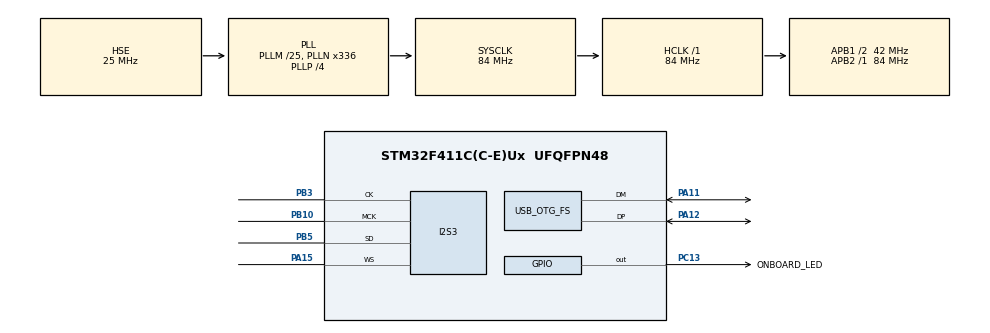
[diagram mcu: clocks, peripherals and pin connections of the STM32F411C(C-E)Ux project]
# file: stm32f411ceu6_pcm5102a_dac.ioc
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Dma.Request0=SPI3_TX
Dma.SPI3_TX.0.Direction=DMA_MEMORY_TO_PERIPH
Dma.SPI3_TX.0.FIFOMode=DMA_FIFOMODE_ENABLE
Dma.SPI3_TX.0.FIFOThreshold=DMA_FIFO_THRESHOLD_HALFFULL
Dma.SPI3_TX.0.Instance=DMA1_Stream5
Dma.SPI3_TX.0.MemBurst=DMA_MBURST_SINGLE
Dma.SPI3_TX.0.MemDataAlignment=DMA_MDATAALIGN_HALFWORD
Dma.SPI3_TX.0.MemInc=DMA_MINC_ENABLE
Dma.SPI3_TX.0.Mode=DMA_CIRCULAR
Dma.SPI3_TX.0.PeriphBurst=DMA_PBURST_SINGLE
Dma.SPI3_TX.0.PeriphDataAlignment=DMA_PDATAALIGN_HALFWORD
Dma.SPI3_TX.0.PeriphInc=DMA_PINC_DISABLE
Dma.SPI3_TX.0.Priority=DMA_PRIORITY_HIGH
I2S3.AudioFreq=I2S_AUDIOFREQ_44K
I2S3.DataFormat=I2S_DATAFORMAT_32B
I2S3.ErrorAudioFreq=0.24 %
I2S3.FullDuplexMode=I2S_FULLDUPLEXMODE_DISABLE
I2S3.Instance=SPI$Index
I2S3.RealAudioFreq=44.108 KHz
I2S3.VirtualMode=I2S_MODE_MASTER
Mcu.Family=STM32F4
Mcu.Name=STM32F411C(C-E)Ux
Mcu.Package=UFQFPN48
NVIC.DMA1_Stream5_IRQn=true\:0\:0\:false\:false\:true\:false\:true\:true
NVIC.PriorityGroup=NVIC_PRIORITYGROUP_4
PA11.Mode=Device_Only
PA11.Signal=USB_OTG_FS_DM
PA12.Mode=Device_Only
PA12.Signal=USB_OTG_FS_DP
PA13.Mode=Serial_Wire
PA13.Signal=SYS_JTMS-SWDIO
PA14.Mode=Serial_Wire
PA14.Signal=SYS_JTCK-SWCLK
PA15.Mode=Half_Duplex_Master
PA15.Signal=I2S3_WS
PB10.Mode=Master_Clock_Activated
PB10.Signal=I2S3_MCK
PB3.Mode=Half_Duplex_Master
PB3.Signal=I2S3_CK
PB5.Mode=Half_Duplex_Master
PB5.Signal=I2S3_SD
PC13-ANTI_TAMP.GPIO_Label=ONBOARD_LED
PC13-ANTI_TAMP.Signal=GPIO_Output
PH0\ -\ OSC_IN.Mode=HSE-External-Oscillator
PH0\ -\ OSC_IN.Signal=RCC_OSC_IN
PH1\ -\ OSC_OUT.Mode=HSE-External-Oscillator
PH1\ -\ OSC_OUT.Signal=RCC_OSC_OUT
ProjectManager.HeapSize=0x200
ProjectManager.StackSize=0x400
ProjectManager.TargetToolchain=STM32CubeIDE
RCC.48MHZClocksFreq_Value=48000000
RCC.AHBFreq_Value=84000000
RCC.APB1CLKDivider=RCC_HCLK_DIV2
RCC.APB1Freq_Value=42000000
RCC.APB1TimFreq_Value=84000000
RCC.APB2Freq_Value=84000000
RCC.APB2TimFreq_Value=84000000
RCC.CortexFreq_Value=84000000
RCC.HCLKFreq_Value=84000000
RCC.HSE_VALUE=25000000
RCC.HSI_VALUE=16000000
RCC.LSE_VALUE=32768
RCC.PLLI2SM=25
RCC.PLLI2SN=271
RCC.PLLI2SR=6
RCC.PLLM=25
RCC.PLLN=336
RCC.PLLP=RCC_PLLP_DIV4
RCC.PLLQ=7
RCC.SYSCLKFreq_VALUE=84000000
RCC.SYSCLKSource=RCC_SYSCLKSOURCE_PLLCLK
RCC.VCOOutputFreq_Value=336000000
USB_OTG_FS.VirtualMode=Device_Only
board=custom

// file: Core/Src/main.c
/* USER CODE BEGIN Header */
/**
 ******************************************************************************
 * @file           : main.c
 * @brief          : Main program body
 ******************************************************************************
 * @attention
 *
 * Copyright (c) 2025 STMicroelectronics.
 * All rights reserved.
 *
 * This software is licensed under terms that can be found in the LICENSE file
 * in the root directory of this software component.
 * If no LICENSE file comes with this software, it is provided AS-IS.
 *
 ******************************************************************************
 */
/* USER CODE END Header */
#include "main.h"

/* USER CODE BEGIN Includes */
#include "usb_speaker.h"
#include "volume_ctrl.h"
#include "speaker_settings.h"
#include "ring_buf.h"
/* USER CODE END Includes */

I2S_HandleTypeDef hi2s3;
DMA_HandleTypeDef hdma_spi3_tx;

PCD_HandleTypeDef hpcd_USB_OTG_FS;

/* USER CODE BEGIN PV */
speaker_settings_t speaker_settings;

// Buffer for speaker data
ring_buf_t spk_ring_buffer;
uint32_t *spk_ring_buffer_storage;

// Buffer for speaker data
uint8_t spk_usb_read_buf[SAMPLE_BUFFER_SIZE * 2 * 4 * 2]; // Max size of audio sample is  2 * 4. 2 Channels, 4 byte width sample
i2s_32b_audio_sample spk_32b_i2s_buffer[SAMPLE_BUFFER_SIZE];
i2s_16b_audio_sample spk_16b_i2s_buffer[SAMPLE_BUFFER_SIZE];
uint32_t spk_i2s_buf[SAMPLE_BUFFER_SIZE * 2];

void led_blinking_task(void);

int32_t usb_to_i2s_32b_sample_convert(int32_t sample, uint32_t volume_db);

int16_t usb_to_i2s_16b_sample_convert(int16_t sample, uint32_t volume_db);

HAL_StatusTypeDef refresh_i2s_spk(void);
void refresh_i2s_connections(void);
HAL_StatusTypeDef MyHAL_I2S_Init(I2S_HandleTypeDef *hi2s);
void MyHAL_I2S_MspInit(I2S_HandleTypeDef *hi2s);

void usb_speaker_mute_handler(int8_t bChannelNumber, int8_t mute_in);
void usb_speaker_volume_handler(int8_t bChannelNumber, int16_t volume_in);
void usb_speaker_current_sample_rate_handler(uint32_t current_sample_rate_in);
void usb_speaker_current_resolution_handler(uint8_t current_resolution_in);
void usb_speaker_current_status_set_handler(uint32_t blink_interval_ms_in);

void usb_speaker_tud_audio_rx_done_pre_read_handler(uint8_t rhport,
		uint16_t n_bytes_received, uint8_t func_id, uint8_t ep_out,
		uint8_t cur_alt_setting);

int spk_machine_i2s_write_stream(uint32_t *buf_in, uint32_t size);
void HAL_I2S_TxHalfCpltCallback(I2S_HandleTypeDef *hi2s);
void HAL_I2S_TxCpltCallback(I2S_HandleTypeDef *hi2s);
uint32_t feed_spk_dma(uint32_t *dma_buffer_p,
		uint32_t sizeof_half_dma_buffer_in_bytes);
/* USER CODE END PV */

void SystemClock_Config(void);
static void MX_GPIO_Init(void);
static void MX_DMA_Init(void);
static void MX_I2S3_Init(void);
static void MX_USB_OTG_FS_PCD_Init(void);

int main(void) {

	/* MCU Configuration--------------------------------------------------------*/

	/* Reset of all peripherals, Initializes the Flash interface and the Systick. */
	HAL_Init();

	/* Configure the system clock */
	SystemClock_Config();

	/* Initialize all configured peripherals */
	MX_GPIO_Init();
	MX_DMA_Init();
	MX_I2S3_Init();
	MX_USB_OTG_FS_PCD_Init();
	/* USER CODE BEGIN 2 */

	speaker_settings.sample_rate = I2S_SPK_RATE_DEF;
	speaker_settings.resolution = CFG_TUD_AUDIO_FUNC_1_FORMAT_1_RESOLUTION_RX;
	speaker_settings.blink_interval_ms = BLINK_NOT_MOUNTED;
	speaker_settings.status_updated = false;

	usb_speaker_set_mute_set_handler(usb_speaker_mute_handler);
	usb_speaker_set_volume_set_handler(usb_speaker_volume_handler);
	usb_speaker_set_current_sample_rate_set_handler(
			usb_speaker_current_sample_rate_handler);
	usb_speaker_set_current_resolution_set_handler(
			usb_speaker_current_resolution_handler);
	usb_speaker_set_current_status_set_handler(
			usb_speaker_current_status_set_handler);

	usb_speaker_set_tud_audio_rx_done_pre_read_set_handler(
			usb_speaker_tud_audio_rx_done_pre_read_handler);

	usb_speaker_init();
	refresh_i2s_connections();

	for (int i = 0; i < (CFG_TUD_AUDIO_FUNC_1_N_CHANNELS_RX + 1); i++) {
		speaker_settings.volume[i] = DEFAULT_VOLUME;
		speaker_settings.mute[i] = 0;
		speaker_settings.volume_db[i] = vol_to_db_convert_enc(
				speaker_settings.mute[i], speaker_settings.volume[i]);
	}

	for (int i = 0; i < (CFG_TUD_AUDIO_FUNC_1_N_CHANNELS_RX); i++) {
		speaker_settings.volume_mul_db[i] = speaker_settings.volume_db[0]
				* speaker_settings.volume_db[i + 1];
	}

	/* USER CODE END 2 */

	/* Infinite loop */
	/* USER CODE BEGIN WHILE */
	while (1) {
		usb_speaker_task();

		led_blinking_task();

		/* USER CODE END WHILE */

	}
}

void SystemClock_Config(void) {
	RCC_OscInitTypeDef RCC_OscInitStruct = { 0 };
	RCC_ClkInitTypeDef RCC_ClkInitStruct = { 0 };

	/** Configure the main internal regulator output voltage
	 */
	__HAL_RCC_PWR_CLK_ENABLE();
	__HAL_PWR_VOLTAGESCALING_CONFIG(PWR_REGULATOR_VOLTAGE_SCALE1);

	/** Initializes the RCC Oscillators according to the specified parameters
	 * in the RCC_OscInitTypeDef structure.
	 */
	RCC_OscInitStruct.OscillatorType = RCC_OSCILLATORTYPE_HSE;
	RCC_OscInitStruct.HSEState = RCC_HSE_ON;
	RCC_OscInitStruct.PLL.PLLState = RCC_PLL_ON;
	RCC_OscInitStruct.PLL.PLLSource = RCC_PLLSOURCE_HSE;
	RCC_OscInitStruct.PLL.PLLM = 25;
	RCC_OscInitStruct.PLL.PLLN = 336;
	RCC_OscInitStruct.PLL.PLLP = RCC_PLLP_DIV4;
	RCC_OscInitStruct.PLL.PLLQ = 7;
	if (HAL_RCC_OscConfig(&RCC_OscInitStruct) != HAL_OK) {
		Error_Handler();
	}

	/** Initializes the CPU, AHB and APB buses clocks
	 */
	RCC_ClkInitStruct.ClockType = RCC_CLOCKTYPE_HCLK | RCC_CLOCKTYPE_SYSCLK
			| RCC_CLOCKTYPE_PCLK1 | RCC_CLOCKTYPE_PCLK2;
	RCC_ClkInitStruct.SYSCLKSource = RCC_SYSCLKSOURCE_PLLCLK;
	RCC_ClkInitStruct.AHBCLKDivider = RCC_SYSCLK_DIV1;
	RCC_ClkInitStruct.APB1CLKDivider = RCC_HCLK_DIV2;
	RCC_ClkInitStruct.APB2CLKDivider = RCC_HCLK_DIV1;

	if (HAL_RCC_ClockConfig(&RCC_ClkInitStruct, FLASH_LATENCY_2) != HAL_OK) {
		Error_Handler();
	}
}

static void MX_I2S3_Init(void) {

	hi2s3.Instance = SPI3;
	hi2s3.Init.Mode = I2S_MODE_MASTER_TX;
	hi2s3.Init.Standard = I2S_STANDARD_PHILIPS;
	hi2s3.Init.DataFormat = I2S_DATAFORMAT_32B;
	hi2s3.Init.MCLKOutput = I2S_MCLKOUTPUT_ENABLE;
	hi2s3.Init.AudioFreq = I2S_AUDIOFREQ_44K;
	hi2s3.Init.CPOL = I2S_CPOL_LOW;
	hi2s3.Init.ClockSource = I2S_CLOCK_PLL;
	hi2s3.Init.FullDuplexMode = I2S_FULLDUPLEXMODE_DISABLE;
	if (HAL_I2S_Init(&hi2s3) != HAL_OK) {
		Error_Handler();
	}

}

static void MX_USB_OTG_FS_PCD_Init(void) {

	hpcd_USB_OTG_FS.Instance = USB_OTG_FS;
	hpcd_USB_OTG_FS.Init.dev_endpoints = 4;
	hpcd_USB_OTG_FS.Init.speed = PCD_SPEED_FULL;
	hpcd_USB_OTG_FS.Init.dma_enable = DISABLE;
	hpcd_USB_OTG_FS.Init.phy_itface = PCD_PHY_EMBEDDED;
	hpcd_USB_OTG_FS.Init.Sof_enable = DISABLE;
	hpcd_USB_OTG_FS.Init.low_power_enable = DISABLE;
	hpcd_USB_OTG_FS.Init.lpm_enable = DISABLE;
	hpcd_USB_OTG_FS.Init.vbus_sensing_enable = DISABLE;
	hpcd_USB_OTG_FS.Init.use_dedicated_ep1 = DISABLE;
	if (HAL_PCD_Init(&hpcd_USB_OTG_FS) != HAL_OK) {
		Error_Handler();
	}

}

static void MX_DMA_Init(void) {

	/* DMA controller clock enable */
	__HAL_RCC_DMA1_CLK_ENABLE();

	/* DMA interrupt init */
	/* DMA1_Stream5_IRQn interrupt configuration */
	HAL_NVIC_SetPriority(DMA1_Stream5_IRQn, 0, 0);
	HAL_NVIC_EnableIRQ(DMA1_Stream5_IRQn);

}

static void MX_GPIO_Init(void) {
	GPIO_InitTypeDef GPIO_InitStruct = { 0 };

	/* GPIO Ports Clock Enable */
	__HAL_RCC_GPIOC_CLK_ENABLE();
	__HAL_RCC_GPIOH_CLK_ENABLE();
	__HAL_RCC_GPIOB_CLK_ENABLE();
	__HAL_RCC_GPIOA_CLK_ENABLE();

	/*Configure GPIO pin Output Level */
	HAL_GPIO_WritePin(ONBOARD_LED_GPIO_Port, ONBOARD_LED_Pin, GPIO_PIN_RESET);

	/*Configure GPIO pin : ONBOARD_LED_Pin */
	GPIO_InitStruct.Pin = ONBOARD_LED_Pin;
	GPIO_InitStruct.Mode = GPIO_MODE_OUTPUT_PP;
	GPIO_InitStruct.Pull = GPIO_NOPULL;
	GPIO_InitStruct.Speed = GPIO_SPEED_FREQ_LOW;
	HAL_GPIO_Init(ONBOARD_LED_GPIO_Port, &GPIO_InitStruct);

}

/* USER CODE BEGIN 4 */

void refresh_i2s_connections(void) {
	HAL_I2S_StateTypeDef dma_state;

	// Stop microphone DMA
	dma_state = HAL_I2S_GetState(&hi2s3);
	if (dma_state != HAL_I2S_STATE_READY) {
		HAL_StatusTypeDef stop_status = HAL_I2S_DMAStop(&hi2s3);
		if (stop_status != HAL_OK) {
			Error_Handler();
		}
	}

	HAL_StatusTypeDef tx_i2s_status = refresh_i2s_spk();
	if (tx_i2s_status != HAL_OK) {
		Error_Handler();
	}

	if (spk_ring_buffer_storage != NULL) {
		free(spk_ring_buffer_storage);
	}

	speaker_settings.samples_in_i2s_frame_min = (speaker_settings.sample_rate)
			/ 1000;
	speaker_settings.samples_in_i2s_frame_max = (speaker_settings.sample_rate
			+ 999) / 1000;

	// Ring buffer contains 2 ms data
	spk_ring_buffer_storage = m_new(uint32_t,
			speaker_settings.samples_in_i2s_frame_max * 2 * 2);
	ringbuf_init(&spk_ring_buffer, spk_ring_buffer_storage,
			speaker_settings.samples_in_i2s_frame_max * 2 * 2);

	// Clear memories
	memset(spk_i2s_buf, 0x0, sizeof(spk_i2s_buf));

	uint16_t num_of_samples_in_buffer =
			speaker_settings.samples_in_i2s_frame_min * 2;

	// Run transmit DMA
	HAL_StatusTypeDef tx_status = HAL_I2S_Transmit_DMA(&hi2s3, spk_i2s_buf,
			num_of_samples_in_buffer);
	if (tx_status != HAL_OK) {
		Error_Handler();
	}
}

HAL_StatusTypeDef refresh_i2s_spk(void) {
	HAL_StatusTypeDef status = HAL_I2S_DeInit(&hi2s3);
	if (status != HAL_OK)
		return status;

	hi2s3.Instance = SPI3;
	hi2s3.Init.Mode = I2S_MODE_MASTER_TX;
	hi2s3.Init.Standard = I2S_STANDARD_PHILIPS;
	hi2s3.Init.DataFormat =
			(speaker_settings.resolution == 16) ?
			I2S_DATAFORMAT_16B :
													I2S_DATAFORMAT_32B; //I2S_DATAFORMAT_32B;
	hi2s3.Init.MCLKOutput = I2S_MCLKOUTPUT_ENABLE;
	hi2s3.Init.AudioFreq = speaker_settings.sample_rate; //I2S_AUDIOFREQ_48K;
	hi2s3.Init.CPOL = I2S_CPOL_LOW;
	hi2s3.Init.ClockSource = I2S_CLOCK_PLL;
	hi2s3.Init.FullDuplexMode = I2S_FULLDUPLEXMODE_DISABLE;
	if (MyHAL_I2S_Init(&hi2s3) != HAL_OK) {
		Error_Handler();
	}

	return HAL_OK;
}

//-------------------------
// callback functions
//-------------------------

void usb_speaker_mute_handler(int8_t bChannelNumber, int8_t mute_in) {
	speaker_settings.mute[bChannelNumber] = mute_in;
	speaker_settings.volume_db[bChannelNumber] = vol_to_db_convert_enc(
			speaker_settings.mute[bChannelNumber],
			speaker_settings.volume[bChannelNumber]);

	for (int i = 0; i < (CFG_TUD_AUDIO_FUNC_1_N_CHANNELS_RX); i++) {
		speaker_settings.volume_mul_db[i] = speaker_settings.volume_db[0]
				* speaker_settings.volume_db[i + 1];
	}

	speaker_settings.status_updated = true;
}

void usb_speaker_volume_handler(int8_t bChannelNumber, int16_t volume_in) {
	speaker_settings.volume[bChannelNumber] = volume_in;
	speaker_settings.volume_db[bChannelNumber] = vol_to_db_convert_enc(
			speaker_settings.mute[bChannelNumber],
			speaker_settings.volume[bChannelNumber]);

	for (int i = 0; i < (CFG_TUD_AUDIO_FUNC_1_N_CHANNELS_RX); i++) {
		speaker_settings.volume_mul_db[i] = speaker_settings.volume_db[0]
				* speaker_settings.volume_db[i + 1];
	}

	speaker_settings.status_updated = true;
}

void usb_speaker_current_sample_rate_handler(uint32_t current_sample_rate_in) {
	speaker_settings.sample_rate = current_sample_rate_in;
	refresh_i2s_connections();
	speaker_settings.status_updated = true;
}

void usb_speaker_current_resolution_handler(uint8_t current_resolution_in) {
	speaker_settings.resolution = current_resolution_in;
	refresh_i2s_connections();
	speaker_settings.status_updated = true;
}

void usb_speaker_current_status_set_handler(uint32_t blink_interval_ms_in) {
	speaker_settings.blink_interval_ms = blink_interval_ms_in;
	speaker_settings.status_updated = true;
}

void usb_speaker_tud_audio_rx_done_pre_read_handler(uint8_t rhport,
		uint16_t n_bytes_received, uint8_t func_id, uint8_t ep_out,
		uint8_t cur_alt_setting) {
	uint32_t volume_db_left = speaker_settings.volume_mul_db[0];
	uint32_t volume_db_right = speaker_settings.volume_mul_db[1];

	if (speaker_settings.blink_interval_ms == BLINK_STREAMING) {
		// Speaker data size received in the last frame
		uint16_t usb_spk_data_size = tud_audio_n_read(func_id, spk_usb_read_buf,
				n_bytes_received);
		//uint16_t usb_spk_data_size = tud_audio_read(spk_usb_read_buf,
		//		n_bytes_received);
		uint16_t usb_sample_count = 0;

		if (speaker_settings.resolution == 16) {
			int16_t *in = (int16_t*) spk_usb_read_buf;
			usb_sample_count = usb_spk_data_size / 4; // 4 bytes per sample 2b left, 2b right

			//if (usb_sample_count >= current_settings.samples_in_i2s_frame_min) {
			for (int i = 0; i < usb_sample_count; i++) {
				int16_t left = in[i * 2 + 0];
				int16_t right = in[i * 2 + 1];

				left = usb_to_i2s_16b_sample_convert(left, volume_db_left);
				right = usb_to_i2s_16b_sample_convert(right, volume_db_right);

				spk_16b_i2s_buffer[i].left = left;
				spk_16b_i2s_buffer[i].right = right;
			}
			spk_machine_i2s_write_stream(&spk_16b_i2s_buffer[0],
					usb_sample_count); // Number of words
			//}
		} else {
			int32_t *in = (int32_t*) spk_usb_read_buf;
			usb_sample_count = usb_spk_data_size / 8; // 8 bytes per sample 4b left, 4b right

			//if (usb_sample_count >= current_settings.samples_in_i2s_frame_min) {
			for (int i = 0; i < usb_sample_count; i++) {
				int32_t left = in[i * 2 + 0];
				int32_t right = in[i * 2 + 1];

				left = usb_to_i2s_32b_sample_convert(left, volume_db_left);
				right = usb_to_i2s_32b_sample_convert(right, volume_db_right);

				spk_32b_i2s_buffer[i].left = left;
				spk_32b_i2s_buffer[i].right = right;
			}
			spk_machine_i2s_write_stream(&spk_32b_i2s_buffer[0],
					usb_sample_count * 2); // Number of words
			//}
		}
	}
}

int32_t usb_to_i2s_32b_sample_convert(int32_t sample, uint32_t volume_db) {
	int64_t sample_tmp = (int64_t) sample * (int64_t) volume_db;
	sample_tmp = sample_tmp >> (15 + 15);
	return (int32_t) sample_tmp;
	//return (int32_t)sample;
}

int16_t usb_to_i2s_16b_sample_convert(int16_t sample, uint32_t volume_db) {
	int64_t sample_tmp = (int64_t) sample * (int64_t) volume_db;
	sample_tmp = sample_tmp >> (15 + 15);
	return (int16_t) sample_tmp;
	//return (int16_t)sample;
}

//--------------------------------------------------------------------+
// BLINKING TASK
//--------------------------------------------------------------------+
void led_blinking_task(void) {
	static uint32_t start_ms = 0;
	static bool led_state = false;

	uint32_t cur_time_ms = board_millis();

	// Blink every interval ms
	if (cur_time_ms - start_ms < speaker_settings.blink_interval_ms)
		return;
	start_ms += speaker_settings.blink_interval_ms;

	board_led_write(led_state);
	led_state = 1 - led_state;
}

int spk_machine_i2s_write_stream(uint32_t *buf_in, uint32_t size) {
	if (size == 0) {
		return 0;
	}

	// copy audio samples from the app buffer to the ring buffer
	// loop, reading samples until the app buffer is emptied
	// for uasyncio mode, the loop will make an early exit if the ring buffer becomes full

	// Not allow buffer overflow
	uint16_t available_space = ringbuf_available_space(&spk_ring_buffer);
	if (available_space <= size) {
		return 0;
	}

	if (speaker_settings.resolution != 16) {
		for (uint32_t a_index = 0; a_index < size; a_index++) {
			if (ringbuf_push_half_word_swap(&spk_ring_buffer,
					buf_in[a_index]) == false) {
				return a_index;
			}
		}
	} else {
		for (uint32_t a_index = 0; a_index < size; a_index++) {
			if (ringbuf_push(&spk_ring_buffer, buf_in[a_index]) == false) {
				return a_index;
			}
		}
	}

	return size;
}

void HAL_I2S_TxHalfCpltCallback(I2S_HandleTypeDef *hi2s) {
	int num_of_words_feed =
			(speaker_settings.resolution != 16) ?
					speaker_settings.samples_in_i2s_frame_min :
					speaker_settings.samples_in_i2s_frame_min / 2;
	feed_spk_dma(&spk_i2s_buf[0], num_of_words_feed);
}

void HAL_I2S_TxCpltCallback(I2S_HandleTypeDef *hi2s) {
	int num_of_words_feed =
			(speaker_settings.resolution != 16) ?
					speaker_settings.samples_in_i2s_frame_min :
					speaker_settings.samples_in_i2s_frame_min / 2;
	feed_spk_dma(&spk_i2s_buf[num_of_words_feed], num_of_words_feed);
}

uint32_t feed_spk_dma(uint32_t *dma_buffer_p,
		uint32_t sizeof_half_dma_buffer_in_words) {
	// when data exists, copy samples from ring buffer
	uint32_t available_data_words = ringbuf_available_data(&spk_ring_buffer);
	if (available_data_words > sizeof_half_dma_buffer_in_words) {
		available_data_words = sizeof_half_dma_buffer_in_words;
	}

	if (available_data_words >= sizeof_half_dma_buffer_in_words) {
		for (uint32_t i = 0; i < sizeof_half_dma_buffer_in_words; i++) {
			ringbuf_pop(&spk_ring_buffer, &dma_buffer_p[i]);
		}
		return available_data_words;
	} else {
		// underflow.  clear buffer to transmit "silence" on the I2S bus
		memset(dma_buffer_p, 0,
				sizeof_half_dma_buffer_in_words * sizeof(uint32_t));
		return sizeof_half_dma_buffer_in_words;
	}
}

void MyHAL_I2S_IRQHandler(I2S_HandleTypeDef *hi2s)
{
  /* Call the IrqHandler ISR set during HAL_I2S_INIT */
  hi2s->IrqHandlerISR(hi2s);
}

HAL_StatusTypeDef MyHAL_I2S_Init(I2S_HandleTypeDef *hi2s) {
	uint32_t i2sdiv;
	uint32_t i2sodd;
	uint32_t packetlength;
	uint32_t tmp;
	uint32_t i2sclk;
#if defined (SPI_I2S_FULLDUPLEX_SUPPORT)
	uint16_t tmpreg;
#endif

	/* Check the I2S handle allocation */
	if (hi2s == NULL) {
		return HAL_ERROR;
	}

	/* Check the I2S parameters */
	assert_param(IS_I2S_ALL_INSTANCE(hi2s->Instance));
	assert_param(IS_I2S_MODE(hi2s->Init.Mode));
	assert_param(IS_I2S_STANDARD(hi2s->Init.Standard));
	assert_param(IS_I2S_DATA_FORMAT(hi2s->Init.DataFormat));
	assert_param(IS_I2S_MCLK_OUTPUT(hi2s->Init.MCLKOutput));
	assert_param(IS_I2S_AUDIO_FREQ(hi2s->Init.AudioFreq));
	assert_param(IS_I2S_CPOL(hi2s->Init.CPOL));
	assert_param(IS_I2S_CLOCKSOURCE(hi2s->Init.ClockSource));

	if (hi2s->State == HAL_I2S_STATE_RESET) {
		/* Allocate lock resource and initialize it */
		hi2s->Lock = HAL_UNLOCKED;

		/* Initialize Default I2S IrqHandler ISR */
		hi2s->IrqHandlerISR = MyHAL_I2S_IRQHandler;

#if (USE_HAL_I2S_REGISTER_CALLBACKS == 1U)
    /* Init the I2S Callback settings */
    hi2s->TxCpltCallback       = HAL_I2S_TxCpltCallback;          /* Legacy weak TxCpltCallback       */
    hi2s->RxCpltCallback       = HAL_I2S_RxCpltCallback;          /* Legacy weak RxCpltCallback       */
#if defined (SPI_I2S_FULLDUPLEX_SUPPORT)
    hi2s->TxRxCpltCallback     = HAL_I2SEx_TxRxCpltCallback;      /* Legacy weak TxRxCpltCallback     */
#endif /* SPI_I2S_FULLDUPLEX_SUPPORT */
    hi2s->TxHalfCpltCallback   = HAL_I2S_TxHalfCpltCallback;      /* Legacy weak TxHalfCpltCallback   */
    hi2s->RxHalfCpltCallback   = HAL_I2S_RxHalfCpltCallback;      /* Legacy weak RxHalfCpltCallback   */
#if defined (SPI_I2S_FULLDUPLEX_SUPPORT)
    hi2s->TxRxHalfCpltCallback = HAL_I2SEx_TxRxHalfCpltCallback;  /* Legacy weak TxRxHalfCpltCallback */
#endif /* SPI_I2S_FULLDUPLEX_SUPPORT */
    hi2s->ErrorCallback        = HAL_I2S_ErrorCallback;           /* Legacy weak ErrorCallback        */

    if (hi2s->MspInitCallback == NULL)
    {
      hi2s->MspInitCallback = HAL_I2S_MspInit; /* Legacy weak MspInit  */
    }

    /* Init the low level hardware : GPIO, CLOCK, NVIC... */
    hi2s->MspInitCallback(hi2s);
#else
		/* Init the low level hardware : GPIO, CLOCK, CORTEX...etc */
		MyHAL_I2S_MspInit(hi2s);
#endif /* USE_HAL_I2S_REGISTER_CALLBACKS */
	}

	hi2s->State = HAL_I2S_STATE_BUSY;

	/*----------------------- SPIx I2SCFGR & I2SPR Configuration ----------------*/
	/* Clear I2SMOD, I2SE, I2SCFG, PCMSYNC, I2SSTD, CKPOL, DATLEN and CHLEN bits */
	CLEAR_BIT(hi2s->Instance->I2SCFGR,
			(SPI_I2SCFGR_CHLEN | SPI_I2SCFGR_DATLEN | SPI_I2SCFGR_CKPOL | SPI_I2SCFGR_I2SSTD | SPI_I2SCFGR_PCMSYNC | SPI_I2SCFGR_I2SCFG | SPI_I2SCFGR_I2SE | SPI_I2SCFGR_I2SMOD));
	hi2s->Instance->I2SPR = 0x0002U;

	/*----------------------- I2SPR: I2SDIV and ODD Calculation -----------------*/
	/* If the requested audio frequency is not the default, compute the prescaler */
	if (hi2s->Init.AudioFreq != I2S_AUDIOFREQ_DEFAULT) {
		/* Check the frame length (For the Prescaler computing) ********************/
		if (hi2s->Init.DataFormat == I2S_DATAFORMAT_16B) {
			/* Packet length is 16 bits */
			packetlength = 16U;
		} else {
			/* Packet length is 32 bits */
			packetlength = 32U;
		}

		/* I2S standard */
		if (hi2s->Init.Standard <= I2S_STANDARD_LSB) {
			/* In I2S standard packet length is multiplied by 2 */
			packetlength = packetlength * 2U;
		}

		/* Get the source clock value **********************************************/
#if defined(I2S_APB1_APB2_FEATURE)
    if (IS_I2S_APB1_INSTANCE(hi2s->Instance))
    {
      i2sclk = HAL_RCCEx_GetPeriphCLKFreq(RCC_PERIPHCLK_I2S_APB1);
    }
    else
    {
      i2sclk = HAL_RCCEx_GetPeriphCLKFreq(RCC_PERIPHCLK_I2S_APB2);
    }
#else
		i2sclk = HAL_RCCEx_GetPeriphCLKFreq(RCC_PERIPHCLK_I2S);
#endif /* I2S_APB1_APB2_FEATURE */

		/* Compute the Real divider depending on the MCLK output state, with a floating point */
		if (hi2s->Init.MCLKOutput == I2S_MCLKOUTPUT_ENABLE) {
			/* MCLK output is enabled */
			if (hi2s->Init.DataFormat != I2S_DATAFORMAT_16B) {
				tmp = (uint32_t) (((((i2sclk / (packetlength * 4U)) * 10U)
						/ hi2s->Init.AudioFreq)) + 5U);
			} else {
				tmp = (uint32_t) (((((i2sclk / (packetlength * 8U)) * 10U)
						/ hi2s->Init.AudioFreq)) + 5U);
			}
		} else {
			/* MCLK output is disabled */
			tmp = (uint32_t) (((((i2sclk / packetlength) * 10U)
					/ hi2s->Init.AudioFreq)) + 5U);
		}

		/* Remove the flatting point */
		tmp = tmp / 10U;

		/* Check the parity of the divider */
		i2sodd = (uint32_t) (tmp & (uint32_t) 1U);

		/* Compute the i2sdiv prescaler */
		i2sdiv = (uint32_t) ((tmp - i2sodd) / 2U);

		/* Get the Mask for the Odd bit (SPI_I2SPR[8]) register */
		i2sodd = (uint32_t) (i2sodd << 8U);
	} else {
		/* Set the default values */
		i2sdiv = 2U;
		i2sodd = 0U;
	}

	/* Test if the divider is 1 or 0 or greater than 0xFF */
	if ((i2sdiv < 2U) || (i2sdiv > 0xFFU)) {
		/* Set the error code and execute error callback*/
		SET_BIT(hi2s->ErrorCode, HAL_I2S_ERROR_PRESCALER);
		return HAL_ERROR;
	}

	/*----------------------- SPIx I2SCFGR & I2SPR Configuration ----------------*/

	/* Write to SPIx I2SPR register the computed value */
	hi2s->Instance->I2SPR = (uint32_t) ((uint32_t) i2sdiv
			| (uint32_t) (i2sodd | (uint32_t) hi2s->Init.MCLKOutput));

	/* Clear I2SMOD, I2SE, I2SCFG, PCMSYNC, I2SSTD, CKPOL, DATLEN and CHLEN bits */
	/* And configure the I2S with the I2S_InitStruct values                      */
	MODIFY_REG(hi2s->Instance->I2SCFGR,
			(SPI_I2SCFGR_CHLEN | SPI_I2SCFGR_DATLEN | SPI_I2SCFGR_CKPOL | SPI_I2SCFGR_I2SSTD | SPI_I2SCFGR_PCMSYNC | SPI_I2SCFGR_I2SCFG | SPI_I2SCFGR_I2SE | SPI_I2SCFGR_I2SMOD),
			(SPI_I2SCFGR_I2SMOD | hi2s->Init.Mode | hi2s->Init.Standard | hi2s->Init.DataFormat | hi2s->Init.CPOL));

#if defined(SPI_I2SCFGR_ASTRTEN)
  if ((hi2s->Init.Standard == I2S_STANDARD_PCM_SHORT) || ((hi2s->Init.Standard == I2S_STANDARD_PCM_LONG)))
  {
    /* Write to SPIx I2SCFGR */
    SET_BIT(hi2s->Instance->I2SCFGR, SPI_I2SCFGR_ASTRTEN);
  }
#endif /* SPI_I2SCFGR_ASTRTEN */

#if defined (SPI_I2S_FULLDUPLEX_SUPPORT)

	/* Configure the I2S extended if the full duplex mode is enabled */
	assert_param(IS_I2S_FULLDUPLEX_MODE(hi2s->Init.FullDuplexMode));

	if (hi2s->Init.FullDuplexMode == I2S_FULLDUPLEXMODE_ENABLE) {
		/* Set FullDuplex I2S IrqHandler ISR if FULLDUPLEXMODE is enabled */
		hi2s->IrqHandlerISR = HAL_I2SEx_FullDuplex_IRQHandler;

		/* Clear I2SMOD, I2SE, I2SCFG, PCMSYNC, I2SSTD, CKPOL, DATLEN and CHLEN bits */
		CLEAR_BIT(I2SxEXT(hi2s->Instance)->I2SCFGR,
				(SPI_I2SCFGR_CHLEN | SPI_I2SCFGR_DATLEN | SPI_I2SCFGR_CKPOL | SPI_I2SCFGR_I2SSTD | SPI_I2SCFGR_PCMSYNC | SPI_I2SCFGR_I2SCFG | SPI_I2SCFGR_I2SE | SPI_I2SCFGR_I2SMOD));
		I2SxEXT(hi2s->Instance)->I2SPR = 2U;

		/* Get the I2SCFGR register value */
		tmpreg = I2SxEXT(hi2s->Instance)->I2SCFGR;

		/* Get the mode to be configured for the extended I2S */
		if ((hi2s->Init.Mode == I2S_MODE_MASTER_TX)
				|| (hi2s->Init.Mode == I2S_MODE_SLAVE_TX)) {
			tmp = I2S_MODE_SLAVE_RX;
		} else /* I2S_MODE_MASTER_RX ||  I2S_MODE_SLAVE_RX */
		{
			tmp = I2S_MODE_SLAVE_TX;
		}

		/* Configure the I2S Slave with the I2S Master parameter values */
		tmpreg |=
				(uint16_t) ((uint16_t) SPI_I2SCFGR_I2SMOD | (uint16_t) tmp
						| (uint16_t) hi2s->Init.Standard
						| (uint16_t) hi2s->Init.DataFormat
						| (uint16_t) hi2s->Init.CPOL);

		/* Write to SPIx I2SCFGR */
		WRITE_REG(I2SxEXT(hi2s->Instance)->I2SCFGR, tmpreg);
	}
#endif /* SPI_I2S_FULLDUPLEX_SUPPORT */

	hi2s->ErrorCode = HAL_I2S_ERROR_NONE;
	hi2s->State = HAL_I2S_STATE_READY;

	return HAL_OK;
}

void MyHAL_I2S_MspInit(I2S_HandleTypeDef *hi2s) {
	GPIO_InitTypeDef GPIO_InitStruct = { 0 };
	RCC_PeriphCLKInitTypeDef PeriphClkInitStruct = { 0 };
	if (hi2s->Instance == SPI3) {
		/* USER CODE BEGIN SPI3_MspInit 0 */

		/* USER CODE END SPI3_MspInit 0 */

		/** Initializes the peripherals clock
		 */
		if (speaker_settings.sample_rate == 48000) {
			/** Initializes the peripherals clock
			 */
			PeriphClkInitStruct.PeriphClockSelection = RCC_PERIPHCLK_I2S;
			PeriphClkInitStruct.PLLI2S.PLLI2SN = 258;
			PeriphClkInitStruct.PLLI2S.PLLI2SM = 25;
			PeriphClkInitStruct.PLLI2S.PLLI2SR = 3;
			if (HAL_RCCEx_PeriphCLKConfig(&PeriphClkInitStruct) != HAL_OK) {
				Error_Handler();
			}
		}

		if (speaker_settings.sample_rate == 44100) {
			/** Initializes the peripherals clock
			 */
			PeriphClkInitStruct.PeriphClockSelection = RCC_PERIPHCLK_I2S;
			PeriphClkInitStruct.PLLI2S.PLLI2SN = 271;
			PeriphClkInitStruct.PLLI2S.PLLI2SM = 25;
			PeriphClkInitStruct.PLLI2S.PLLI2SR = 6;
			if (HAL_RCCEx_PeriphCLKConfig(&PeriphClkInitStruct) != HAL_OK) {
				Error_Handler();
			}
		}

		/* Peripheral clock enable */
		__HAL_RCC_SPI3_CLK_ENABLE();

		__HAL_RCC_GPIOB_CLK_ENABLE();
		__HAL_RCC_GPIOA_CLK_ENABLE();
		/**I2S3 GPIO Configuration
		 PB10     ------> I2S3_MCK
		 PA15     ------> I2S3_WS
		 PB3     ------> I2S3_CK
		 PB5     ------> I2S3_SD
		 */
		GPIO_InitStruct.Pin = GPIO_PIN_10 | GPIO_PIN_3 | GPIO_PIN_5;
		GPIO_InitStruct.Mode = GPIO_MODE_AF_PP;
		GPIO_InitStruct.Pull = GPIO_NOPULL;
		GPIO_InitStruct.Speed = GPIO_SPEED_FREQ_LOW;
		GPIO_InitStruct.Alternate = GPIO_AF6_SPI3;
		HAL_GPIO_Init(GPIOB, &GPIO_InitStruct);

		GPIO_InitStruct.Pin = GPIO_PIN_15;
		GPIO_InitStruct.Mode = GPIO_MODE_AF_PP;
		GPIO_InitStruct.Pull = GPIO_NOPULL;
		GPIO_InitStruct.Speed = GPIO_SPEED_FREQ_LOW;
		GPIO_InitStruct.Alternate = GPIO_AF6_SPI3;
		HAL_GPIO_Init(GPIOA, &GPIO_InitStruct);

		/* I2S3 DMA Init */
		/* SPI3_TX Init */
		hdma_spi3_tx.Instance = DMA1_Stream5;
		hdma_spi3_tx.Init.Channel = DMA_CHANNEL_0;
		hdma_spi3_tx.Init.Direction = DMA_MEMORY_TO_PERIPH;
		hdma_spi3_tx.Init.PeriphInc = DMA_PINC_DISABLE;
		hdma_spi3_tx.Init.MemInc = DMA_MINC_ENABLE;
		hdma_spi3_tx.Init.PeriphDataAlignment = DMA_PDATAALIGN_HALFWORD;
		hdma_spi3_tx.Init.MemDataAlignment = DMA_MDATAALIGN_HALFWORD;
		hdma_spi3_tx.Init.Mode = DMA_CIRCULAR;
		hdma_spi3_tx.Init.Priority = DMA_PRIORITY_HIGH;
		hdma_spi3_tx.Init.FIFOMode = DMA_FIFOMODE_ENABLE;
		hdma_spi3_tx.Init.FIFOThreshold = DMA_FIFO_THRESHOLD_HALFFULL;
		hdma_spi3_tx.Init.MemBurst = DMA_MBURST_SINGLE;
		hdma_spi3_tx.Init.PeriphBurst = DMA_PBURST_SINGLE;
		if (HAL_DMA_Init(&hdma_spi3_tx) != HAL_OK) {
			Error_Handler();
		}

		__HAL_LINKDMA(hi2s, hdmatx, hdma_spi3_tx);

		/* USER CODE BEGIN SPI3_MspInit 1 */

		/* USER CODE END SPI3_MspInit 1 */

	}
}

/* USER CODE END 4 */

void Error_Handler(void) {
	__disable_irq();
	while (1) {
	}
}
